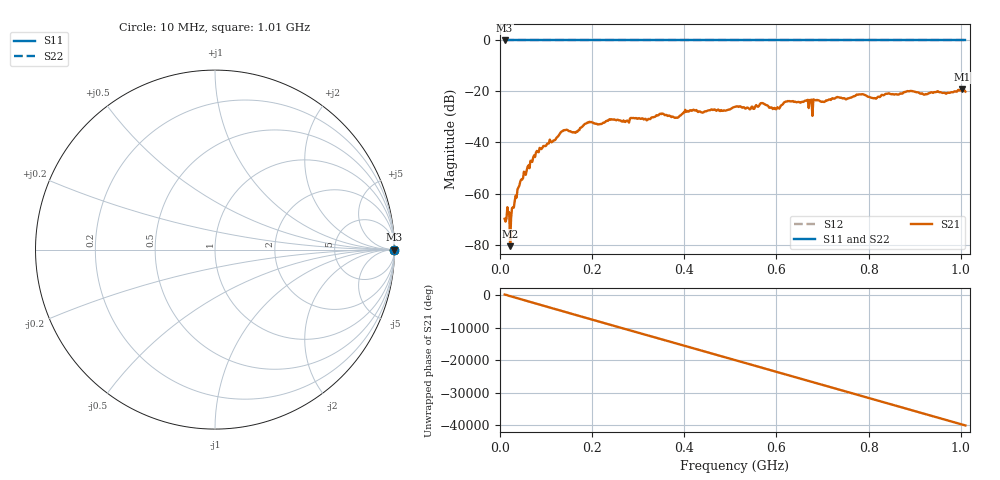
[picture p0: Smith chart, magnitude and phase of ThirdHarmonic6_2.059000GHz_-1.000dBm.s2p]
! 8/17/2025 12:40:43 AM
! C:\ANRITSUVNA\TEMP\TEMP.S2P
! CHANNEL.1
! TR.MEASUREMENT
! RAW.DATA
! RF.CORRECTION.OFF
! AVERAGING.OFF
! IF.BANDWIDTH: 5KHZ
! SWEEPTYPE:  FREQ.SWEEP(Linear)
! Reference Plane Port Info
! PORT:  PORT1  PORT2
! DISTANCE:  0  m  0  m
! TIME:  0  s  0  s
! PHASE.OFFSET:  0  deg.  0  deg.
! LOSS:  0  dB  0  dB
! REF.LOSS:  0  dB  0  dB
! REF.FREQ:  0  Hz  0  Hz
! Power Info
! POWER:  -20  dBm  -20  dBm
! EFF.POWER:  -20  dBm  -20  dBm
! SOURCE.ATTEN:  0  dB  0  dB
! TEST.ATTEN:  0  dB  0  dB
# GHZ S RI R 50.0
! FREQ.GHZ  S11RE  S11IM  S21RE  S21IM  S12RE  S12IM  S22RE  S22IM
!; PortSelection: Port_12
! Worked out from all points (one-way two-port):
!   501 points, 10 MHz to 1.01 GHz, reference 50 ohm
!   highest |S21| = -19.16 dB at 1.002 GHz (marker M1); lowest = -80.6 dB at 22 MHz (marker M2)
!   lowest |S11| = 0.0 dB at 10 MHz (marker M3)
!   |S11| at or under -10 dB: nowhere
!   |S22| runs from 0.0 to 0.0 dB; largest |S21 - S12| = 1.1
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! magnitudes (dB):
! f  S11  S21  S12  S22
! 10 MHz  0.0  -69.9  0.0  0.0
! 16 MHz  0.0  -65.4  0.0  0.0
! 22 MHz  0.0  -80.6  0.0  0.0
! 26 MHz  0.0  -65.7  0.0  0.0
! 30 MHz  0.0  -65.5  0.0  0.0
! 42 MHz  0.0  -56.9  0.0  0.0
! 76 MHz  0.0  -45.7  0.0  0.0
! 136 MHz  0.0  -35.5  0.0  0.0
! 164 MHz  0.0  -36.2  0.0  0.0
! 178 MHz  0.0  -33.9  0.0  0.0
! 344 MHz  0.0  -29.3  0.0  0.0
! 382 MHz  0.0  -30.2  0.0  0.0
! 416 MHz  0.0  -27.6  0.0  0.0
! 510 MHz  0.0  -26.0  0.0  0.0
! 546 MHz  0.0  -26.0  0.0  0.0
! 570 MHz  0.0  -24.6  0.0  0.0
! 596 MHz  0.0  -26.5  0.0  0.0
! 624 MHz  0.0  -23.8  0.0  0.0
! 678 MHz  0.0  -29.6  0.0  0.0
! 844 MHz  0.0  -20.7  0.0  0.0
! 1.002 GHz  0.0  -19.2  0.0  0.0
! 1.01 GHz  0.0  -20.1  0.0  0.0
